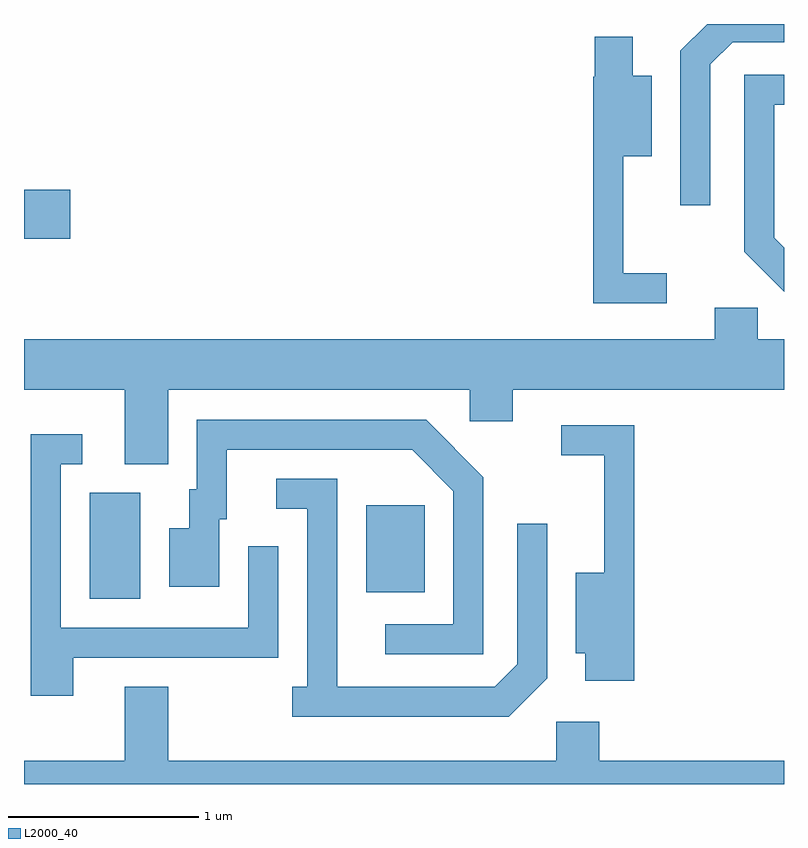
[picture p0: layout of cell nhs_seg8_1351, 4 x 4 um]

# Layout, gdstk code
import gdstk
lib = gdstk.Library(unit=1e-6, precision=1e-09)
def R(c, l, rs):  # rectangles x0, y0, x1, y1
    for r in rs: c.add(gdstk.rectangle(r[:2], r[2:], *l))
def P(c, l, *ps):  # polygons
    for p in ps: c.add(gdstk.Polygon(p, *l))
L2000_40 = (2000, 40)

nhs_seg8_1351 = lib.new_cell('nhs_seg8_1351')
R(nhs_seg8_1351, L2000_40, [(225.956,1835.316,226.224,1835.874), (227.411,1835.351,227.719,1835.809), (225.611,1837.211,225.854,1837.469)])
P(nhs_seg8_1351, L2000_40, [(229.224,1838.129),(229.342,1838.246),(229.611,1838.246),(229.611,1838.342),(229.207,1838.342),(229.066,1838.202),(229.066,1837.388),(229.224,1837.388)],
  [(228.993,1837.029),(228.764,1837.029),(228.764,1837.646),(228.914,1837.646),(228.914,1838.069),(228.814,1838.069),(228.814,1838.274),(228.616,1838.274),(228.616,1838.065),(228.606,1838.065),(228.606,1836.871),(228.993,1836.871)],
  [(229.611,1837.165),(229.559,1837.217),(229.559,1837.916),(229.611,1837.916),(229.611,1838.074),(229.401,1838.074),(229.401,1837.144),(229.611,1836.934)],
  [(226.369,1836.416),(227.956,1836.416),(227.956,1836.251),(228.184,1836.251),(228.184,1836.416),(229.611,1836.416),(229.611,1836.684),(229.474,1836.684),(229.474,1836.849),(229.246,1836.849),(229.246,1836.684),(225.611,1836.684),(225.611,1836.416),(226.141,1836.416),(226.141,1836.026),(226.369,1836.026)],
  [(228.029,1835.957),(227.727,1836.259),(226.521,1836.259),(226.521,1835.894),(226.481,1835.894),(226.481,1835.689),(226.376,1835.689),(226.376,1835.381),(226.639,1835.381),(226.639,1835.736),(226.679,1835.736),(226.679,1836.101),(227.654,1836.101),(227.871,1835.884),(227.871,1835.184),(227.513,1835.184),(227.513,1835.026),(228.029,1835.026)],
  [(228.824,1836.229),(228.438,1836.229),(228.438,1836.071),(228.666,1836.071),(228.666,1835.454),(228.516,1835.454),(228.516,1835.031),(228.566,1835.031),(228.566,1834.886),(228.824,1834.886)],
  [(225.869,1835.006),(226.949,1835.006),(226.949,1835.593),(226.791,1835.593),(226.791,1835.164),(225.804,1835.164),(225.804,1836.026),(225.918,1836.026),(225.918,1836.184),(225.646,1836.184),(225.646,1834.806),(225.869,1834.806)],
  [(228.364,1834.899),(228.364,1835.713),(228.206,1835.713),(228.206,1834.972),(228.089,1834.854),(227.259,1834.854),(227.259,1835.949),(226.938,1835.949),(226.938,1835.791),(227.101,1835.791),(227.101,1834.854),(227.023,1834.854),(227.023,1834.696),(228.162,1834.696)],
  [(229.611,1834.464),(228.639,1834.464),(228.639,1834.669),(228.411,1834.669),(228.411,1834.464),(226.369,1834.464),(226.369,1834.854),(226.141,1834.854),(226.141,1834.464),(225.611,1834.464),(225.611,1834.342),(229.611,1834.342)])

lib.write_gds('nhs_seg8_1351.gds')
